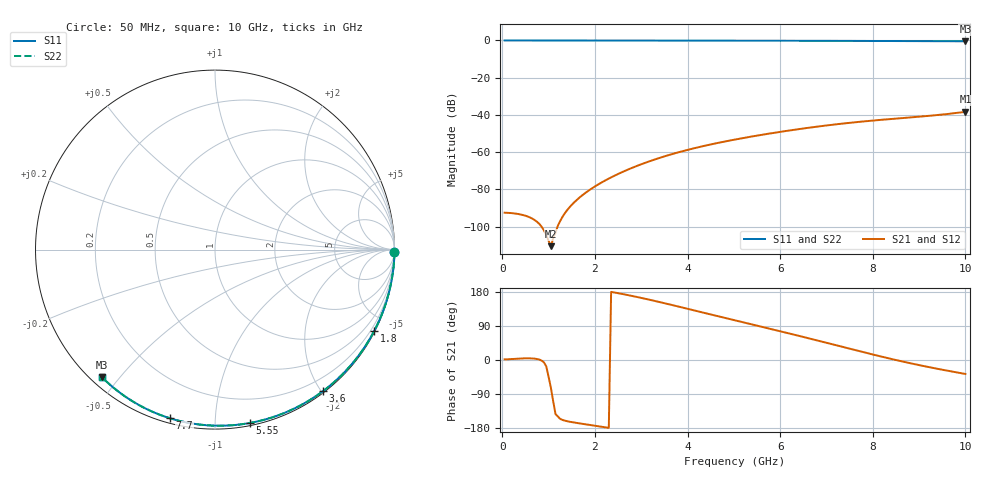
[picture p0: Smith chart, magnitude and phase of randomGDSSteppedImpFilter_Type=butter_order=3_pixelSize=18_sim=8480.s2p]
! freq	dB(S11)	phase(S11)	dB(S12)	phase(S12)
!  dB(S21)	phase(S21)	dB(S22)	phase(S22)
!S-par simulation data
#  GHz  S  DB  R 50
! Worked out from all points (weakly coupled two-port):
!   200 points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, 50 MHz to 10 GHz, reference 50 ohm
!   highest |S21| = -38.32 dB at 10 GHz (marker M1); lowest = -110.5 dB at 1.05 GHz (marker M2)
!   lowest |S11| = -0.4 dB at 10 GHz (marker M3), VSWR 38.99, Z = 1.54 - j22.5 ohm
!   |S11| at or under -10 dB: nowhere
!   |S22| runs from -0.4 to 0.0 dB; largest |S21 - S12| = 0
!   S11 on the Smith chart (normalised r, x): 50 MHz: open; 1.8 GHz: 0.04, -4.18; 3.6 GHz: 0.02, -2.02; 5.55 GHz: 0.02, -1.22; 7.7 GHz: 0.02, -0.77; 10 GHz: 0.03, -0.45
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0.05  -0.00 -0.8  -92.54 1.8  -92.54 1.8  -0.00 -0.8
0.55  -0.01 -8.3  -94.60 4.5  -94.60 4.5  -0.01 -8.3
1.05  -0.02 -15.8  -110.51 -73.5  -110.51 -73.5  -0.02 -15.8
1.75  -0.03 -26.2  -82.73 -168.6  -82.73 -168.6  -0.03 -26.2
1.8  -0.03 -26.9  -81.79 -169.5  -81.79 -169.5  -0.03 -26.9
1.9  -0.04 -28.4  -80.05 -171.3  -80.05 -171.3  -0.04 -28.4
2.05  -0.04 -30.6  -77.67 -174.1  -77.67 -174.1  -0.04 -30.6
2.25  -0.04 -33.5  -74.84 -178.1  -74.84 -178.1  -0.04 -33.5
2.55  -0.05 -37.8  -71.15 175.2  -71.15 175.2  -0.05 -37.8
2.95  -0.06 -43.5  -66.98 165.2  -66.98 165.2  -0.06 -43.5
3.4  -0.07 -49.9  -63.06 152.8  -63.06 152.8  -0.07 -49.9
3.6  -0.07 -52.7  -61.53 147.0  -61.53 147.0  -0.07 -52.7
3.9  -0.08 -56.8  -59.44 138.2  -59.44 138.2  -0.08 -56.8
4.25  -0.09 -61.6  -57.27 127.7  -57.27 127.7  -0.09 -61.6
5.05  -0.11 -72.2  -53.11 103.9  -53.11 103.9  -0.11 -72.2
5.55  -0.13 -78.7  -50.92 89.2  -50.92 89.2  -0.13 -78.7
6.1  -0.15 -85.6  -48.74 72.9  -48.74 72.9  -0.15 -85.6
6.7  -0.18 -93.0  -46.62 54.7  -46.62 54.7  -0.18 -93.0
7.7  -0.24 -105.0  -43.74 23.7  -43.74 23.7  -0.24 -105.0
8.35  -0.29 -112.6  -42.29 4.2  -42.29 4.2  -0.29 -112.6
9.35  -0.38 -124.1  -40.18 -22.1  -40.18 -22.1  -0.38 -124.1
10  -0.45 -131.4  -38.32 -36.8  -38.32 -36.8  -0.45 -131.4
